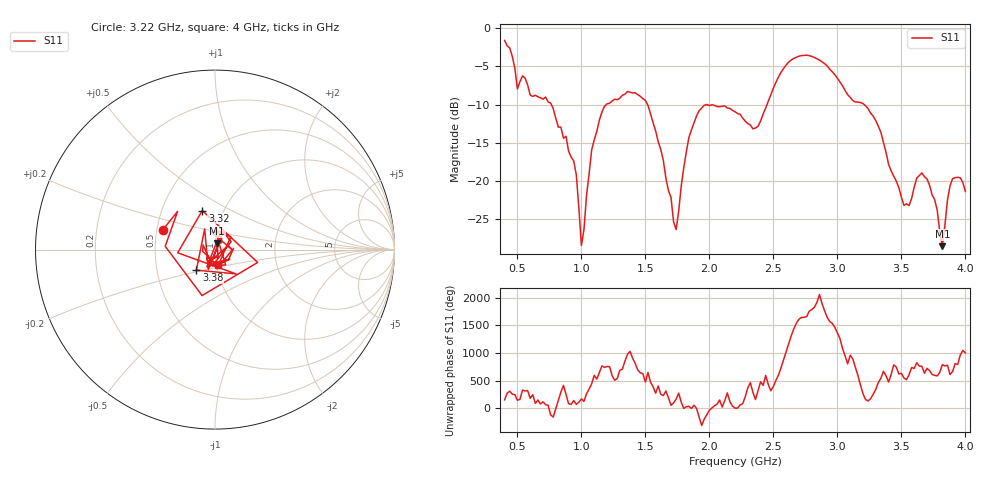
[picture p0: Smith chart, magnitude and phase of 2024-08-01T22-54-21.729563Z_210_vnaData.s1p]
!Created with skrf (http://scikit-rf.org).
# Hz S RI R 50.0
!freq ReS11 ImS11
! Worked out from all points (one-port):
!   181 points, 400 MHz to 4 GHz, reference 50 ohm
!   lowest |S11| = -28.5 dB at 3.82 GHz (marker M1), VSWR 1.08, Z = 51.1 + j3.65 ohm
!   |S11| at or under -10 dB: 1.517 GHz to 1.976 GHz (458.3 MHz wide, 26.2 % of centre); 1.983 GHz to 2.45 GHz (466.6 MHz wide, 21.1 % of centre); 3.21 GHz to end of sweep (the widest 3 of 4)
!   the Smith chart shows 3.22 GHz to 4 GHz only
!   S11 on the Smith chart (normalised r, x): 3.22 GHz: 0.54, +0.13; 3.32 GHz: 0.79, +0.36; 3.38 GHz: 0.79, -0.19; 4 GHz: 1.02, -0.17
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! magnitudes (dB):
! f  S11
! 400 MHz  -1.6
! 500 MHz  -7.9
! 720 MHz  -9.0
! 860 MHz  -14.4
! 960 MHz  -19.1
! 1 GHz  -28.4
! 1.08 GHz  -15.9
! 1.14 GHz  -12.0
! 1.3 GHz  -9.1
! 1.5 GHz  -9.4
! 1.64 GHz  -17.3
! 1.72 GHz  -25.3
! 1.76 GHz  -23.9
! 1.84 GHz  -14.3
! 1.92 GHz  -10.8
! 2.2 GHz  -10.9
! 2.38 GHz  -12.8
! 2.66 GHz  -3.9
! 3.1 GHz  -9.0
! 3.22 GHz  -10.1
! 3.32 GHz  -12.8
! 3.38 GHz  -16.2
! 3.56 GHz  -23.2
! 3.62 GHz  -19.6
! 3.7 GHz  -19.7
! 3.82 GHz  -28.5
! 3.9 GHz  -19.7
! 4 GHz  -21.3
